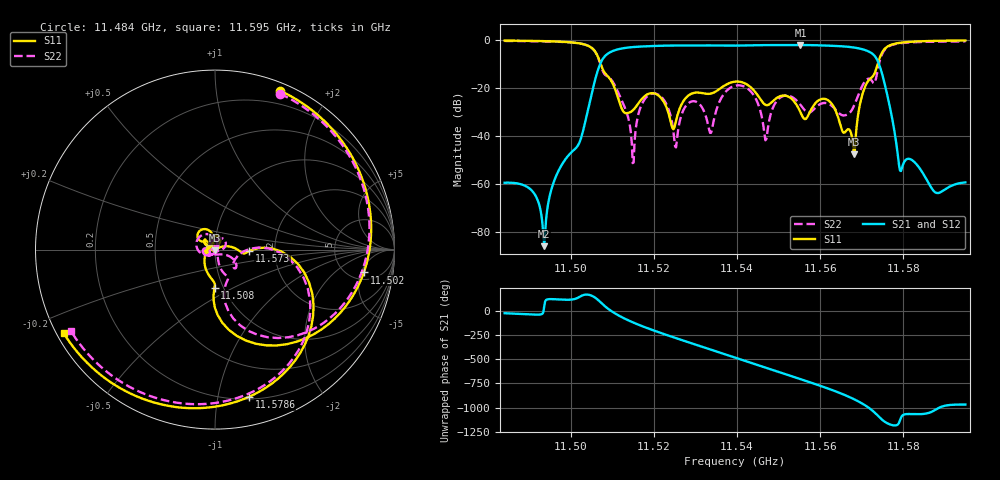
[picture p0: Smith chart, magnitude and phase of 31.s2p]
! Created with skrf 1.8.0 (http://scikit-rf.org).
# Hz S RI R 50.0
!freq ReS11 ImS11 ReS21 ImS21 ReS12 ImS12 ReS22 ImS22
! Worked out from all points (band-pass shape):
!   501 points, 11.484 GHz to 11.595 GHz, reference 50 ohm
!   highest |S21| = -2.24 dB at 11.5553 GHz (marker M1); lowest = -85.9 dB at 11.4935 GHz (marker M2)
!   |S21| within 3 dB of the highest: 11.5094 GHz to 11.5721 GHz (62.65 MHz wide, 0.543 % of centre)
!   lowest |S11| = -47.6 dB at 11.5681 GHz (marker M3), VSWR 1.01, Z = 50.2 - j0.381 ohm
!   |S11| at or under -10 dB: 11.5071 GHz to 11.5739 GHz (66.77 MHz wide, 0.579 % of centre)
!   |S22| runs from -51.3 to -0.5 dB; largest |S21 - S12| = 0.0088
!   S11 on the Smith chart (normalised r, x): 11.484 GHz: 0.07, +1.49; 11.502 GHz: 6.52, -5.61; 11.508 GHz: 0.91, -0.41; 11.573 GHz: 1.47, -0.02; 11.5786 GHz: 0.22, -1.23; 11.595 GHz: 0.02, -0.26
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1.1484e10  0.3646 0.884  0.000936 -0.000497  0.000933 -0.000502  0.3619 0.8679
1.149355e10  0.6935 0.6228  3.75e-05 3.45e-05  3.97e-05 3.21e-05  0.6786 0.6234
1.150198e10  0.8292 -0.1274  -0.00536 0.00472  -0.00531 0.00476  0.8342 -0.0744
1.150265e10  0.787 -0.2241  -0.00942 0.00464  -0.00936 0.0047  0.8007 -0.1669
1.150798e10  -0.00259 -0.2134  0.2738 0.3394  0.2761 0.3386  0.0625 -0.1869
1.151486e10  -0.00752 0.0329  -0.3657 -0.5982  -0.3707 -0.596  0.00202 -0.00181
1.151708e10  -0.0123 0.0576  -0.679 -0.2439  -0.6825 -0.2401  0.00432 0.0459
1.152107e10  0.0284 0.063  -0.5456 0.5074  -0.5429 0.514  0.0599 0.0393
1.152529e10  -0.0168 0.0117  0.1916 0.7311  0.1974 0.7309  -0.00364 -0.00447
1.15304e10  -0.0569 0.0556  0.7553 0.044  0.7597 0.0385  9.3e-05 0.0499
1.153373e10  -0.0592 0.0473  0.5481 -0.5243  0.5453 -0.5322  0.00777 -0.00862
1.15395e10  -0.0898 0.0996  -0.4365 -0.6134  -0.4439 -0.6114  -0.1033 0.0384
1.154683e10  -0.0229 0.0379  -0.5063 0.5807  -0.5018 0.588  0.00792 -0.00171
1.15486e10  -0.0444 0.0279  -0.2141 0.7403  -0.207 0.7449  -0.0226 -0.0303
1.155526e10  -0.0215 0.0223  0.7513 0.1824  0.7556 0.1749  -0.0437 0.00692
1.155815e10  -0.0361 -0.0149  0.6818 -0.3555  0.6798 -0.3636  -0.0278 -0.0187
1.156303e10  -0.0428 0.00815  -0.142 -0.731  -0.1502 -0.7325  -0.0316 -0.0253
1.156814e10  0.00168 -0.00379  -0.6706 0.1501  -0.671 0.1583  0.0323 -0.0265
1.157302e10  0.1913 -0.00817  0.3909 0.2636  0.3941 0.2591  0.1107 -0.0556
1.157657e10  0.4746 -0.5765  0.0013 -0.0494  0.000871 -0.0497  0.4643 -0.5627
1.157857e10  0.1897 -0.8202  -0.000716 -0.00502  -0.000772 -0.00503  0.1818 -0.8048
1.1595e10  -0.8434 -0.4648  -0.000396 0.001  -0.000388 0.00101  -0.8015 -0.4556
